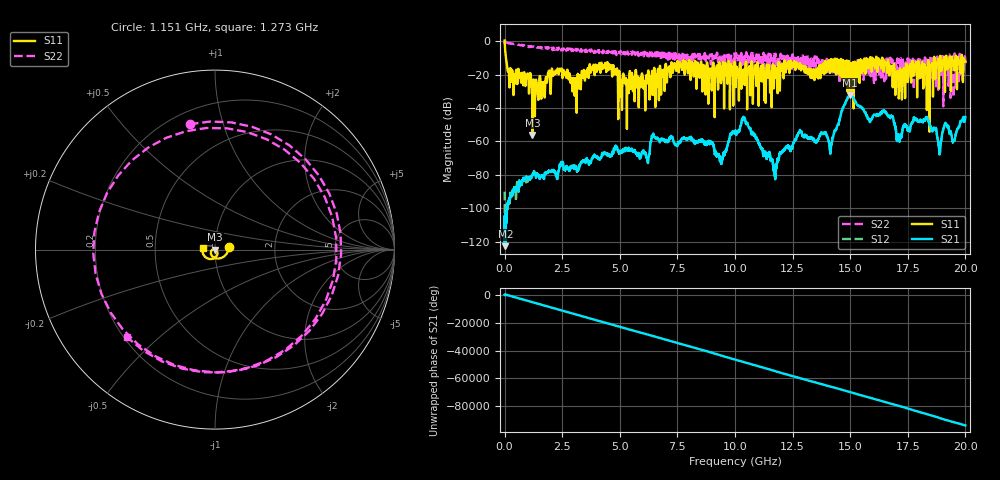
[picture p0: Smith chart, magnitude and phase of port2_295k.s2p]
! MS46122B
! 2250307/22442219
! 7/31/2025 8:28:10 AM
! C:\USERS\SPARKY\DOCUMENTS\VNA_DATA\JULY31_2025\295K\PORT2.S2P
! CHANNEL.1
! TR.MEASUREMENT
! RAW.DATA
# GHZ S RI R 50.0
! FREQ.GHZ  S11RE  S11IM  S21RE  S21IM  S12RE  S12IM  S22RE  S22IM
!; PortSelection: Port_12
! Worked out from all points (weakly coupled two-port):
!   10001 points, 1 MHz to 20 GHz, reference 50 ohm
!   highest |S21| = -32.32 dB at 14.97 GHz (marker M1); lowest = -122.8 dB at 39 MHz (marker M2)
!   lowest |S11| = -56.2 dB at 1.211 GHz (marker M3), VSWR 1.00, Z = 50.2 + j0.0261 ohm
!   |S11| at or under -10 dB: 57.59 MHz to 15.87 GHz (15.81 GHz wide, 199 % of centre); 16.15 GHz to 16.38 GHz (236.9 MHz wide, 1.46 % of centre); 16.4 GHz to 18.64 GHz (2.24 GHz wide, 12.8 % of centre) (the widest 3 of 14)
!   |S22| runs from -39.0 to 0.0 dB; largest |S21 - S12| = 0.0018
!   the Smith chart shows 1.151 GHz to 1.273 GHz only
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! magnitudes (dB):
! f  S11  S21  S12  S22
! 1 MHz  0.4  -105.0  -90.1  -0.1
! 39 MHz  -7.4  -122.8  -106.7  -0.9
! 297 MHz  -24.4  -91.8  -92.0  -1.4
! 1.211 GHz  -56.2  -79.8  -79.5  -3.4
! 3.335 GHz  -19.7  -72.5  -72.6  -5.4
! 6.197 GHz  -25.0  -71.1  -71.0  -8.9
! 6.669 GHz  -17.3  -59.0  -59.4  -7.4
! 9.393 GHz  -25.2  -72.5  -72.8  -11.7
! 10 GHz  -14.1  -54.3  -54.4  -14.5
! 10.43 GHz  -22.8  -46.1  -46.6  -11.0
! 11.74 GHz  -15.0  -79.3  -80.5  -10.7
! 12.79 GHz  -15.8  -54.7  -54.5  -10.7
! 13.33 GHz  -18.0  -57.8  -57.8  -12.4
! 14.17 GHz  -10.7  -62.4  -62.5  -16.6
! 14.97 GHz  -21.1  -32.3  -32.4  -19.5
! 15.84 GHz  -14.0  -47.9  -48.0  -10.7
! 16.67 GHz  -13.6  -45.0  -45.1  -10.4
! 17.11 GHz  -34.4  -57.5  -57.8  -11.4
! 18.33 GHz  -33.7  -45.3  -45.7  -11.1
! 18.87 GHz  -13.8  -67.0  -67.3  -11.9
! 19.12 GHz  -24.0  -49.1  -49.2  -14.3
! 20 GHz  -12.3  -45.5  -46.2  -14.2
